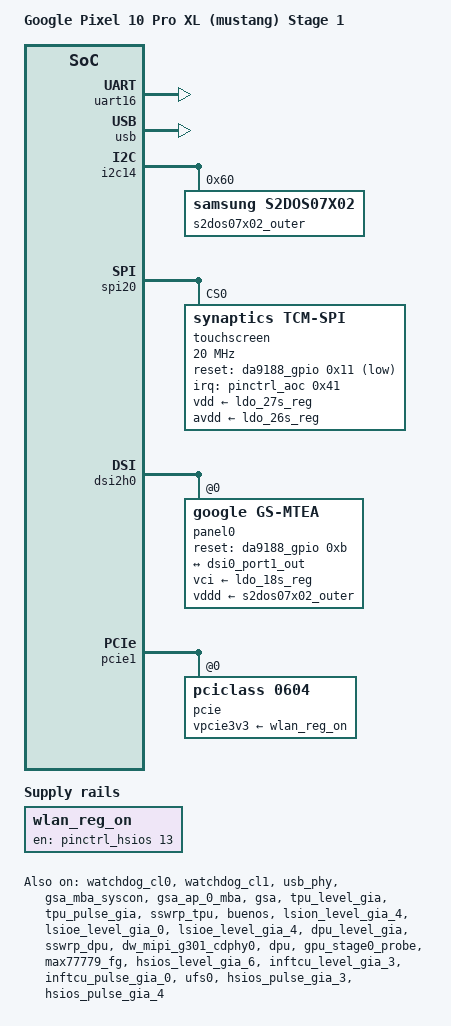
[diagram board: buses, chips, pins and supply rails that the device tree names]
// SPDX-License-Identifier: GPL-2.0-only
/*
 * Google Pixel 10 Pro XL (mustang) Stage 1 clean-room DTS draft.
 *
 * Verified stock DTBO identity (non-PII):
 *   dtbo_idx = 30 (lga-mustang-mp.dtbo), board_id = 0x70506, board_rev = 0x010000
 *   Stock panel@0: google-mtea, mode 1344x2992@60 (no bootloader simple-framebuffer)
 *
 * Do NOT add device serials, IMEIs, MACs, BT addresses, PSN, or /chosen/config.
 */

/dts-v1/;

#include "lga.dtsi"

/ {
	model = "Google Pixel 10 Pro XL (mustang) Stage 1";
	compatible = "google,lga-mustang", "google,lga";
	board_id = <0x70506>;
	board_rev = <0x010000>;

	chosen {
		/* keep_bootcon retains earlycon if ttyS0 defers pending clk-cpm */
		bootargs = "earlycon=uart8250,mmio32,0xdb62000 console=ttyS0,115200n8 keep_bootcon google_8250.nr_uarts=4 clk_ignore_unused pd_ignore_unused panic=10 rdinit=/init";
	};
};

&uart16 {
	status = "okay";
};

&watchdog_cl0 {
	status = "okay";
};

&watchdog_cl1 {
	status = "okay";
};

/*
 * Stage 1B USB2 gadget (requires CPM power/clock/reset drivers or Stage 1A stubs
 * because dwc3-google enforces dev_pm_domain_attach_by_name("psw"/"top")).
 */
&usb_phy {
	status = "okay";
};

&usb {
	status = "okay";
};

&cpuacc_level_gia {
	status = "okay";
};

&cpuacc_pulse_gia {
	status = "okay";
};

&amb_smmu {
	status = "okay";
};

&gsa_mba_syscon {
	status = "okay";
};

&gsa_ap_0_mba {
	status = "okay";
};

&gsa {
	status = "okay";
};

&tpu_level_gia {
	status = "okay";
};

&tpu_pulse_gia {
	status = "okay";
};

&tpu_smmu {
	status = "okay";
};

&sswrp_tpu {
	status = "okay";
};

&buenos {
	status = "okay";
};

&lsion_level_gia_4 {
	status = "okay";
};

&lsioe_level_gia_0 {
	status = "okay";
};

&lsioe_level_gia_4 {
	status = "okay";
};

&pinctrl_cpm {
	status = "okay";
};

&pinctrl_aoc {
	status = "okay";
};

&pinctrl_lsioe {
	status = "okay";
};

&pinctrl_lsios {
	gpio-reserved-ranges = <0x28 0x4 0x36 0x1>;
};

&i2c14 {
	status = "okay";

	s2dos07x02_outer: regulator@60 {
		compatible = "samsung,s2dos07x02";
		reg = <0x60>;
		regulator-name = "s2dos07x02-pmic";
		regulator-min-microvolt = <850000>;
		regulator-max-microvolt = <2100000>;
	};
};

&spi20 {
	status = "okay";

	touchscreen@0 {
		compatible = "synaptics,tcm-spi";
		reg = <0>;
		spi-max-frequency = <20000000>;
		rx-sample-delay-ns = <25>;
		pinctrl-names = "default";
		pinctrl-0 = <&ts0_2_aoc_int_l_1v2>;
		vdd-supply = <&ldo_27s_reg>;
		avdd-supply = <&ldo_26s_reg>;
		reset-gpios = <&da9188_gpio 0x11 GPIO_ACTIVE_LOW>;
		interrupt-parent = <&pinctrl_aoc>;
		interrupts = <0x41 IRQ_TYPE_LEVEL_LOW>;
		power-delay-ms = <200>;
		reset-active-ms = <1>;
		reset-delay-ms = <70>;
	};
};

&gpio_keys {
	status = "okay";
};

&dpu_level_gia {
	status = "okay";
};

&sswrp_dpu {
	status = "okay";
};

&dw_mipi_g301_cdphy0 {
	status = "okay";
};

&dsi2h0 {
	status = "okay";
	datarate = <1368>;

	panel0: panel@0 {
		compatible = "google,gs-mtea";
		reg = <0>;
		vci-supply = <&ldo_18s_reg>;
		vddd-supply = <&s2dos07x02_outer>;
		reset-gpios = <&da9188_gpio 0xb GPIO_ACTIVE_HIGH>;

		port {
			panel0_in: endpoint {
				remote-endpoint = <&dsi0_port1_out>;
			};
		};
	};
};

&dsi0_port1_out {
	remote-endpoint = <&panel0_in>;
};

&dpu {
	status = "okay";
};

&gpu_stage0_probe {
	status = "okay";
};

&spmi0 {
	master_arb_en = <1>;
	prescalar = <1>;
	status = "okay";
};

&max77779_fg {
	status = "okay";
};

&hsios_level_gia_6 {
	status = "okay";
};

&inftcu_level_gia_3 {
	status = "okay";
};

&inftcu_pulse_gia_0 {
	status = "okay";
};

&inf_smmu {
	status = "okay";
};

&pinctrl_hsios_stby {
	status = "okay";
};

&pinctrl_hsios {
	status = "okay";
};

&ufs0 {
	google,enable-phy-calibration;
	google,toggle-resetb-on-reset;
	phy-cal-data = <0x2f13129 0x2f63329 0x7e311e 0x7a331e 0x803120 0x783320 0x803122 0x7a3322
			0x823124 0x7a3324 0x1f7b0162 0x3021 0x3221 0x80803022 0x80803222
			0x80803023 0x80803223 0x3039 0x3239 0x313c 0x333c 0x2010313d 0x2010333d
			0x200e313e 0x2010333e 0x2011313f 0x200e333f 0x20103140 0x20103340
			0x200e3141 0x20103341 0x20113142 0x200e3342 0x24383143 0x24383343
			0x24383144 0x24383344 0x3145 0x3345 0x3146 0x3346 0x1f650163 0xf3024
			0xf3224 0x78a03025 0x7d9d3225 0x80803026 0x80803226 0x1303a 0x1323a
			0xf3147 0xf3347 0x20103148 0x20103348 0x1bae3149 0x20503349 0x2071314a
			0x1bce334a 0x2010314b 0x2010334b 0x200e314c 0x2010334c 0x2011314d
			0x200e334d 0x2238314e 0x2338334e 0x2438314f 0x2438334f 0x13150 0x13350
			0x3151 0x3351>;
	status = "okay";
};

/ {
	wlan_reg_on: regulator-wlan-reg-on {
		compatible = "regulator-fixed";
		regulator-name = "wlan-reg-on";
		gpio = <&pinctrl_hsios 13 GPIO_ACTIVE_HIGH>;
		enable-active-high;
		startup-delay-us = <200000>;
		pinctrl-names = "default";
		pinctrl-0 = <&ap2wlan_reg_on_1v2>;
	};
};

&hsios_pulse_gia_3 {
	status = "okay";
};

&hsios_pulse_gia_4 {
	status = "okay";
};

&pcie1 {
	status = "okay";

	pcie@0,0 {
		compatible = "pciclass,0604";
		device_type = "pci";
		reg = <0x0 0x0 0x0 0x0 0x0>;
		bus-range = <0x01 0xff>;
		#address-cells = <3>;
		#size-cells = <2>;
		ranges;
		vpcie3v3-supply = <&wlan_reg_on>;

		wifi@0,0 {
			reg = <0x10000 0x0 0x0 0x0 0x0>;
			brcm,board-type = "google,lga-mustang";
		};
	};
};

&ldo_14m_reg {
	google,monitor-only;
};

&ldo_24m_reg {
	google,monitor-only;
};

&ldo_26m_reg {
	google,monitor-only;
};

&ldo_10s_reg {
	google,monitor-only;
};
